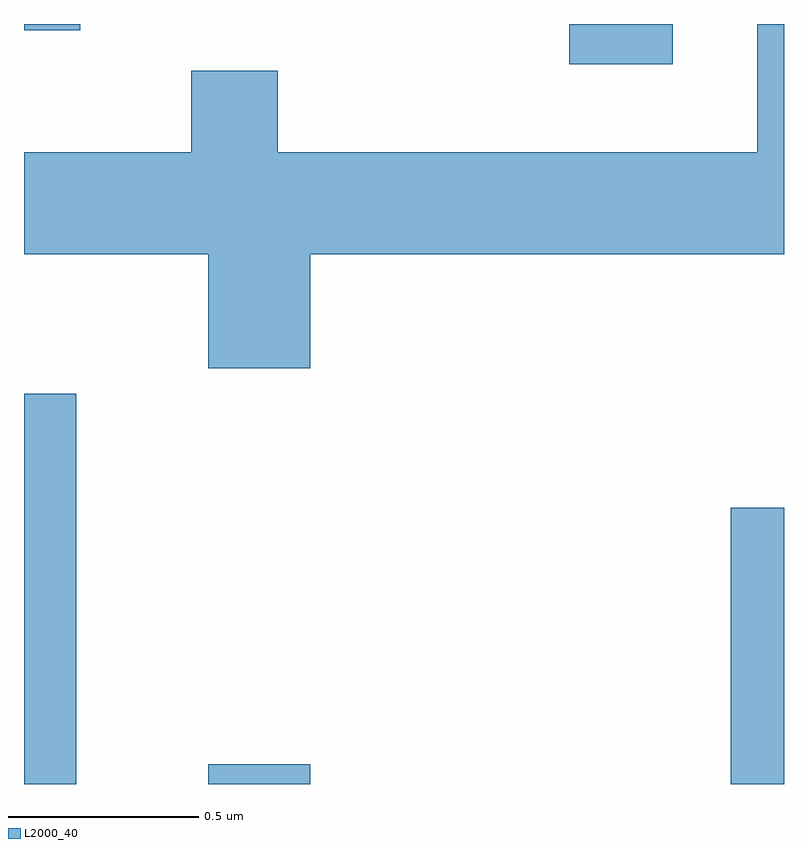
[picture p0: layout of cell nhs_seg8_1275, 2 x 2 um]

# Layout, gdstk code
import gdstk
lib = gdstk.Library(unit=1e-6, precision=1e-09)
def R(c, l, rs):  # rectangles x0, y0, x1, y1
    for r in rs: c.add(gdstk.rectangle(r[:2], r[2:], *l))
def P(c, l, *ps):  # polygons
    for p in ps: c.add(gdstk.Polygon(p, *l))
L2000_40 = (2000, 40)

nhs_seg8_1275 = lib.new_cell('nhs_seg8_1275')
R(nhs_seg8_1275, L2000_40, [(194.611,1848.342,194.749,1849.369), (195.096,1848.342,195.364,1848.394), (196.471,1848.342,196.611,1849.069), (196.046,1850.236,196.318,1850.342), (194.611,1850.326,194.759,1850.342)])
P(nhs_seg8_1275, L2000_40, [(195.364,1849.736),(196.611,1849.736),(196.611,1850.342),(196.541,1850.342),(196.541,1850.004),(195.279,1850.004),(195.279,1850.219),(195.051,1850.219),(195.051,1850.004),(194.611,1850.004),(194.611,1849.736),(195.096,1849.736),(195.096,1849.436),(195.364,1849.436)])

lib.write_gds('nhs_seg8_1275.gds')
